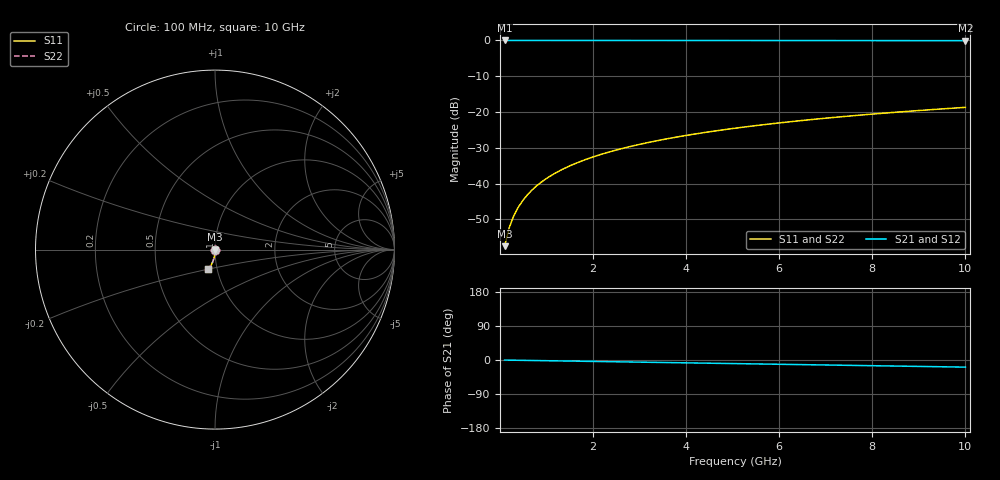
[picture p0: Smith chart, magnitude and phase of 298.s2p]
# Hz S RI R 50.00
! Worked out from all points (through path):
!   100 points, 100 MHz to 10 GHz, reference 50 ohm
!   highest |S21| = -0.01 dB at 100 MHz (marker M1); lowest = -0.1 dB at 10 GHz (marker M2)
!   group delay of S21, straight-line fit = 5.23 ps
!   lowest |S11| = -57.5 dB at 100 MHz (marker M3), VSWR 1.00, Z = 50.1 - j0.118 ohm
!   |S11| at or under -10 dB: start of sweep to end of sweep
!   |S22| runs from -57.5 to -18.7 dB; largest |S21 - S12| = 0
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1e8  0.000626 -0.00118  0.9994 -0.00327  0.9994 -0.00327  0.000626 -0.00118
2e8  0.000616 -0.00236  0.9993 -0.00655  0.9993 -0.00655  0.000616 -0.00236
3e8  0.000598 -0.00354  0.9993 -0.00982  0.9993 -0.00982  0.000598 -0.00354
4e8  0.000572 -0.00471  0.9993 -0.0131  0.9993 -0.0131  0.000572 -0.00471
5e8  0.000537 -0.00589  0.9992 -0.0164  0.9992 -0.0164  0.000537 -0.00589
6e8  0.000494 -0.00707  0.9991 -0.0196  0.9991 -0.0196  0.000494 -0.00707
7e8  0.000444 -0.00825  0.999 -0.0229  0.999 -0.0229  0.000444 -0.00825
8e8  0.000386 -0.00943  0.9989 -0.0262  0.9989 -0.0262  0.000386 -0.00943
9e8  0.000319 -0.0106  0.9988 -0.0295  0.9988 -0.0295  0.000319 -0.0106
1.1e9  0.000164 -0.013  0.9986 -0.036  0.9986 -0.036  0.000164 -0.013
1.4e9  -0.000128 -0.0165  0.9981 -0.0458  0.9981 -0.0458  -0.000128 -0.0165
1.8e9  -0.000626 -0.0212  0.9973 -0.0589  0.9973 -0.0589  -0.000626 -0.0212
2.1e9  -0.00108 -0.0247  0.9966 -0.0687  0.9966 -0.0687  -0.00108 -0.0247
2.5e9  -0.00179 -0.0294  0.9955 -0.0817  0.9955 -0.0817  -0.00179 -0.0294
2.9e9  -0.00263 -0.034  0.9942 -0.0948  0.9942 -0.0948  -0.00263 -0.034
3.4e9  -0.00385 -0.0398  0.9922 -0.1111  0.9922 -0.1111  -0.00385 -0.0398
4.2e9  -0.00619 -0.049  0.9885 -0.137  0.9885 -0.137  -0.00619 -0.049
5.1e9  -0.0094 -0.0592  0.9835 -0.1661  0.9835 -0.1661  -0.0094 -0.0592
5.9e9  -0.0128 -0.068  0.9781 -0.1918  0.9781 -0.1918  -0.0128 -0.068
6.7e9  -0.0166 -0.0767  0.9721 -0.2173  0.9721 -0.2173  -0.0166 -0.0767
8.4e9  -0.0262 -0.0945  0.9567 -0.2708  0.9567 -0.2708  -0.0262 -0.0945
1e10  -0.037 -0.1101  0.9392 -0.32  0.9392 -0.32  -0.037 -0.1101
